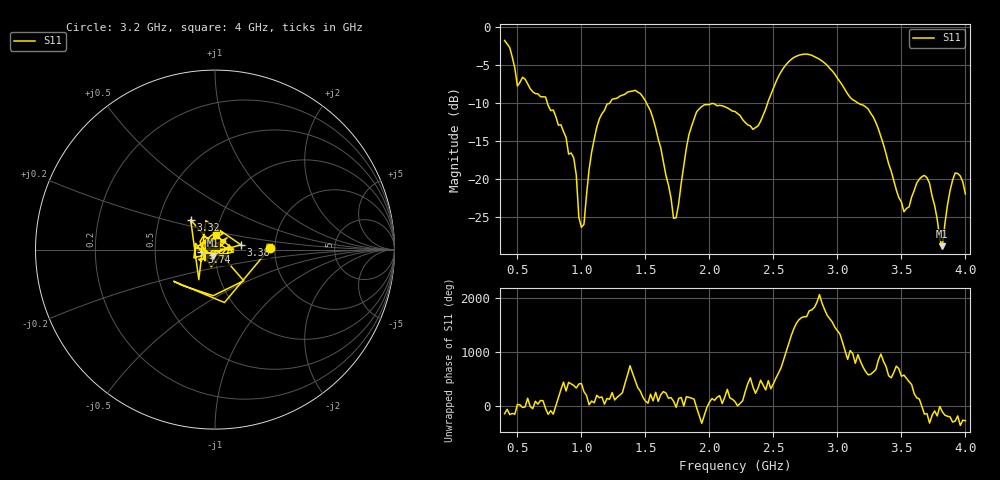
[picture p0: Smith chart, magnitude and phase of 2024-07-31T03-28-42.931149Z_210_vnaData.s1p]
!Created with skrf (http://scikit-rf.org).
# Hz S RI R 50.0
!freq ReS11 ImS11
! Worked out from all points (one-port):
!   181 points, 400 MHz to 4 GHz, reference 50 ohm
!   lowest |S11| = -28.8 dB at 3.82 GHz (marker M1), VSWR 1.08, Z = 48.7 - j3.35 ohm
!   |S11| at or under -10 dB: 734.7 MHz to 1.221 GHz (486.3 MHz wide, 49.7 % of centre); 1.509 GHz to 2.455 GHz (945.4 MHz wide, 47.7 % of centre); 3.163 GHz to end of sweep
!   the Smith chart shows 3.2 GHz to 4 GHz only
!   S11 on the Smith chart (normalised r, x): 3.2 GHz: 1.89, +0.04; 3.32 GHz: 0.72, +0.25; 3.38 GHz: 1.34, +0.07; 3.74 GHz: 0.86, -0.02; 4 GHz: 1.00, +0.16
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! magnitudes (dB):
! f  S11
! 400 MHz  -1.7
! 500 MHz  -7.7
! 720 MHz  -9.2
! 860 MHz  -13.7
! 940 MHz  -17.2
! 1 GHz  -26.3
! 1.12 GHz  -13.2
! 1.3 GHz  -9.1
! 1.5 GHz  -9.7
! 1.62 GHz  -15.9
! 1.72 GHz  -25.2
! 1.76 GHz  -23.2
! 1.84 GHz  -14.1
! 1.9 GHz  -11.1
! 2.2 GHz  -11.1
! 2.38 GHz  -13.0
! 2.66 GHz  -4.0
! 3.1 GHz  -9.2
! 3.2 GHz  -10.2
! 3.32 GHz  -13.4
! 3.38 GHz  -16.7
! 3.52 GHz  -24.3
! 3.56 GHz  -23.7
! 3.66 GHz  -19.7
! 3.74 GHz  -22.3
! 3.82 GHz  -28.8
! 3.92 GHz  -19.2
! 4 GHz  -21.9
